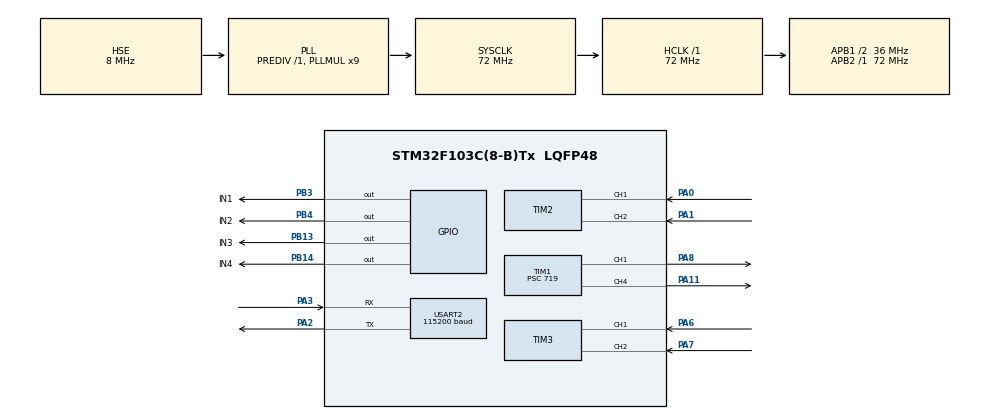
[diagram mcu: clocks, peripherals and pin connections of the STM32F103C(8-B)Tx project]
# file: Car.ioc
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Mcu.Family=STM32F1
Mcu.Name=STM32F103C(8-B)Tx
Mcu.Package=LQFP48
NVIC.PriorityGroup=NVIC_PRIORITYGROUP_4
NVIC.TIM4_IRQn=true\:0\:0\:false\:false\:true\:true\:true\:true
NVIC.USART2_IRQn=true\:0\:0\:false\:false\:true\:true\:true\:true
PA0-WKUP.Signal=S_TIM2_CH1_ETR
PA1.Signal=S_TIM2_CH2
PA11.Signal=S_TIM1_CH4
PA13.Mode=Serial_Wire
PA13.Signal=SYS_JTMS-SWDIO
PA14.Mode=Serial_Wire
PA14.Signal=SYS_JTCK-SWCLK
PA2.Mode=Asynchronous
PA2.Signal=USART2_TX
PA3.Mode=Asynchronous
PA3.Signal=USART2_RX
PA6.Signal=S_TIM3_CH1
PA7.Signal=S_TIM3_CH2
PA8.Signal=S_TIM1_CH1
PB13.GPIO_Label=IN3
PB13.Signal=GPIO_Output
PB14.GPIO_Label=IN4
PB14.Signal=GPIO_Output
PB3.GPIO_Label=IN1
PB3.Signal=GPIO_Output
PB4.GPIO_Label=IN2
PB4.Signal=GPIO_Output
PD0-OSC_IN.Mode=HSE-External-Oscillator
PD0-OSC_IN.Signal=RCC_OSC_IN
PD1-OSC_OUT.Mode=HSE-External-Oscillator
PD1-OSC_OUT.Signal=RCC_OSC_OUT
ProjectManager.HeapSize=0x200
ProjectManager.StackSize=0x400
ProjectManager.TargetToolchain=Makefile
RCC.AHBFreq_Value=72000000
RCC.APB1CLKDivider=RCC_HCLK_DIV2
RCC.APB1Freq_Value=36000000
RCC.APB1TimFreq_Value=72000000
RCC.APB2Freq_Value=72000000
RCC.APB2TimFreq_Value=72000000
RCC.HCLKFreq_Value=72000000
RCC.PLLMUL=RCC_PLL_MUL9
RCC.PLLSourceVirtual=RCC_PLLSOURCE_HSE
RCC.SYSCLKFreq_VALUE=72000000
RCC.SYSCLKSource=RCC_SYSCLKSOURCE_PLLCLK
RCC.USBFreq_Value=72000000
SH.S_TIM1_CH1.0=TIM1_CH1,PWM Generation1 CH1
SH.S_TIM1_CH4.0=TIM1_CH4,PWM Generation4 CH4
SH.S_TIM2_CH1_ETR.0=TIM2_CH1,Encoder_Interface
SH.S_TIM2_CH2.0=TIM2_CH2,Encoder_Interface
SH.S_TIM3_CH1.0=TIM3_CH1,Encoder_Interface
SH.S_TIM3_CH2.0=TIM3_CH2,Encoder_Interface
TIM1.Channel-PWM\ Generation1\ CH1=TIM_CHANNEL_1
TIM1.Channel-PWM\ Generation4\ CH4=TIM_CHANNEL_4
TIM1.Period=100
TIM1.Prescaler=719
USART2.BaudRate=115200
USART2.VirtualMode=VM_ASYNC
VP_TIM4_VS_ClockSourceINT.Mode=Internal
board=custom

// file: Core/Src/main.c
/* USER CODE BEGIN Header */
/**
  ******************************************************************************
  * @file           : main.c
  * @brief          : Main program body
  ******************************************************************************
  * @attention
  *
  * Copyright (c) 2024 STMicroelectronics.
  * All rights reserved.
  *
  * This software is licensed under terms that can be found in the LICENSE file
  * in the root directory of this software component.
  * If no LICENSE file comes with this software, it is provided AS-IS.
  *
  ******************************************************************************
  */
/* USER CODE END Header */
#include "main.h"
#include "tim.h"
#include "usart.h"
#include "gpio.h"

/* USER CODE BEGIN Includes */
#include "pid.h"
#include "stdio.h"
#include "motor.h"
#include "stm32f1xx_it.h"

/* USER CODE END Includes */

/* USER CODE BEGIN PD */
#define ADC_Channel_MAX 2
/* USER CODE END PD */

/* USER CODE BEGIN PV */
uint8_t buffer[8];
extern motor_p motor_left;
extern motor_p motor_right;
extern uint16_t degree[3];
float Kp = 0.07;
float Ki = 0.0001;
float Kd = 5;
float P_term;
float I_term;
float D_term;
float last_speed = 0;
float I_term_sum = 0;
float Kp_v = -18;
float Ki_v = -0.01;
float Kd_v = -0.001;
float P_term_v;
float I_term_v;
float D_term_v;
float last_degree = 0;
float I_term_v_sum = 0;
uint16_t angle = 0;
int16_t upright = 0;
int32_t velocity = 0;
uint32_t time = 0;
float real_speed = 0;
float real_degree = 0;
float output = 0;
float preview = 0;

/* USER CODE END PV */

void SystemClock_Config(void);

int main(void)
{

  /* MCU Configuration--------------------------------------------------------*/

  /* Reset of all peripherals, Initializes the Flash interface and the Systick. */
  HAL_Init();

  /* Configure the system clock */
  SystemClock_Config();

  /* Initialize all configured peripherals */
  MX_GPIO_Init();
  MX_USART2_UART_Init();
  MX_TIM1_Init();
  MX_TIM2_Init();
  MX_TIM3_Init();
  MX_TIM4_Init();
  /* USER CODE BEGIN 2 */
  HAL_TIM_PWM_Start(&htim1, TIM_CHANNEL_1);
  HAL_TIM_PWM_Start(&htim1, TIM_CHANNEL_4);
  HAL_TIM_Encoder_Start(&htim2,TIM_CHANNEL_ALL);
  HAL_TIM_Encoder_Start(&htim3,TIM_CHANNEL_ALL);

  HAL_TIM_Base_Start_IT(&htim4);
  HAL_UART_Receive_IT(&huart2, buffer, 8);
  HAL_Delay(3000);

  /* USER CODE END 2 */

  /* Infinite loop */
  while (1)
  {

    /* USER CODE BEGIN 3 */
    time = 10;

    motor_left.encoder_val = __HAL_TIM_GET_COUNTER(&htim3);
    motor_left.current_speed = -(motor_left.encoder_val - motor_left.encoder_last_val);
    motor_left.encoder_last_val = motor_left.encoder_val;

    P_term = Kp*(real_degree - angle);
    // if((Ki*(real_degree - angle)*time) < -5000){
    if(I_term_sum < -5000){
      I_term_sum = -5000;
    }
    // else if((Ki*(real_degree - angle)*time) > 5000){
    else if(I_term_sum > 5000){
      I_term_sum = 5000;
    }
    else{
      I_term = Ki*(real_degree - angle)*time;
      I_term_sum += I_term;
    }
    D_term = Kd*(real_degree - last_degree)/time;
    P_term_v = Kp_v*(real_speed);
    // if((Ki_v*(real_speed)*time) < -5000){
    if(I_term_v_sum < -5000){
      I_term_v_sum = -5000;
    }
    // else if((Ki_v*(real_speed)*time) > 5000){
    else if((I_term_v_sum) > 5000){
      I_term_v_sum = 5000;
    }
    else{
      I_term_v = Ki_v*(real_speed)*time;
      I_term_v_sum += I_term_v;
    }
    D_term_v = Kd_v*(real_speed - last_speed)/time;
    upright = P_term + D_term + I_term_sum;
    velocity = P_term_v + I_term_v_sum;
    preview = upright + velocity;
    last_degree = real_degree;
    last_speed = real_speed;

    if (motor_left.current_speed > 32767){
      real_speed = motor_left.current_speed - 65565;
    }
    else{
      real_speed = motor_left.current_speed;
    }

    if (degree[1] > 32767){
      real_degree = degree[1] - 65565;
    }
    else{
      real_degree = degree[1];
    }

    if ((upright + velocity) > 0){
      HAL_GPIO_WritePin(GPIOB, GPIO_PIN_3, GPIO_PIN_RESET);
      HAL_GPIO_WritePin(GPIOB, GPIO_PIN_4, GPIO_PIN_SET);
      HAL_GPIO_WritePin(GPIOB, GPIO_PIN_13, GPIO_PIN_RESET);
      HAL_GPIO_WritePin(GPIOB, GPIO_PIN_14, GPIO_PIN_SET);
      output = (upright + velocity);
    }
    else{
      HAL_GPIO_WritePin(GPIOB, GPIO_PIN_3, GPIO_PIN_SET);
      HAL_GPIO_WritePin(GPIOB, GPIO_PIN_4, GPIO_PIN_RESET);
      HAL_GPIO_WritePin(GPIOB, GPIO_PIN_13, GPIO_PIN_SET);
      HAL_GPIO_WritePin(GPIOB, GPIO_PIN_14, GPIO_PIN_RESET);
      output = -(upright + velocity);
    }
    htim1.Instance->CCR1 = output;
    htim1.Instance->CCR4 = output;

    HAL_Delay(10);
    //Assumed CCR4 is left wheel and CCR 1 is right wheel
    //Assumed B3,B4 is left wheel and B13,B14 is right wheel
    //Assumed SET move forward while RESET move backward
    //Assumed degree[1] is the degree needed
    //Assumed going forward = degree[1]++
  }
  /* USER CODE END 3 */
}

void SystemClock_Config(void)
{
  RCC_OscInitTypeDef RCC_OscInitStruct = {0};
  RCC_ClkInitTypeDef RCC_ClkInitStruct = {0};

  /** Initializes the RCC Oscillators according to the specified parameters
  * in the RCC_OscInitTypeDef structure.
  */
  RCC_OscInitStruct.OscillatorType = RCC_OSCILLATORTYPE_HSE;
  RCC_OscInitStruct.HSEState = RCC_HSE_ON;
  RCC_OscInitStruct.HSEPredivValue = RCC_HSE_PREDIV_DIV1;
  RCC_OscInitStruct.HSIState = RCC_HSI_ON;
  RCC_OscInitStruct.PLL.PLLState = RCC_PLL_ON;
  RCC_OscInitStruct.PLL.PLLSource = RCC_PLLSOURCE_HSE;
  RCC_OscInitStruct.PLL.PLLMUL = RCC_PLL_MUL9;
  if (HAL_RCC_OscConfig(&RCC_OscInitStruct) != HAL_OK)
  {
    Error_Handler();
  }

  /** Initializes the CPU, AHB and APB buses clocks
  */
  RCC_ClkInitStruct.ClockType = RCC_CLOCKTYPE_HCLK|RCC_CLOCKTYPE_SYSCLK
                              |RCC_CLOCKTYPE_PCLK1|RCC_CLOCKTYPE_PCLK2;
  RCC_ClkInitStruct.SYSCLKSource = RCC_SYSCLKSOURCE_PLLCLK;
  RCC_ClkInitStruct.AHBCLKDivider = RCC_SYSCLK_DIV1;
  RCC_ClkInitStruct.APB1CLKDivider = RCC_HCLK_DIV2;
  RCC_ClkInitStruct.APB2CLKDivider = RCC_HCLK_DIV1;

  if (HAL_RCC_ClockConfig(&RCC_ClkInitStruct, FLASH_LATENCY_2) != HAL_OK)
  {
    Error_Handler();
  }
}

void Error_Handler(void)
{
  __disable_irq();
  while (1)
  {
  }
}
